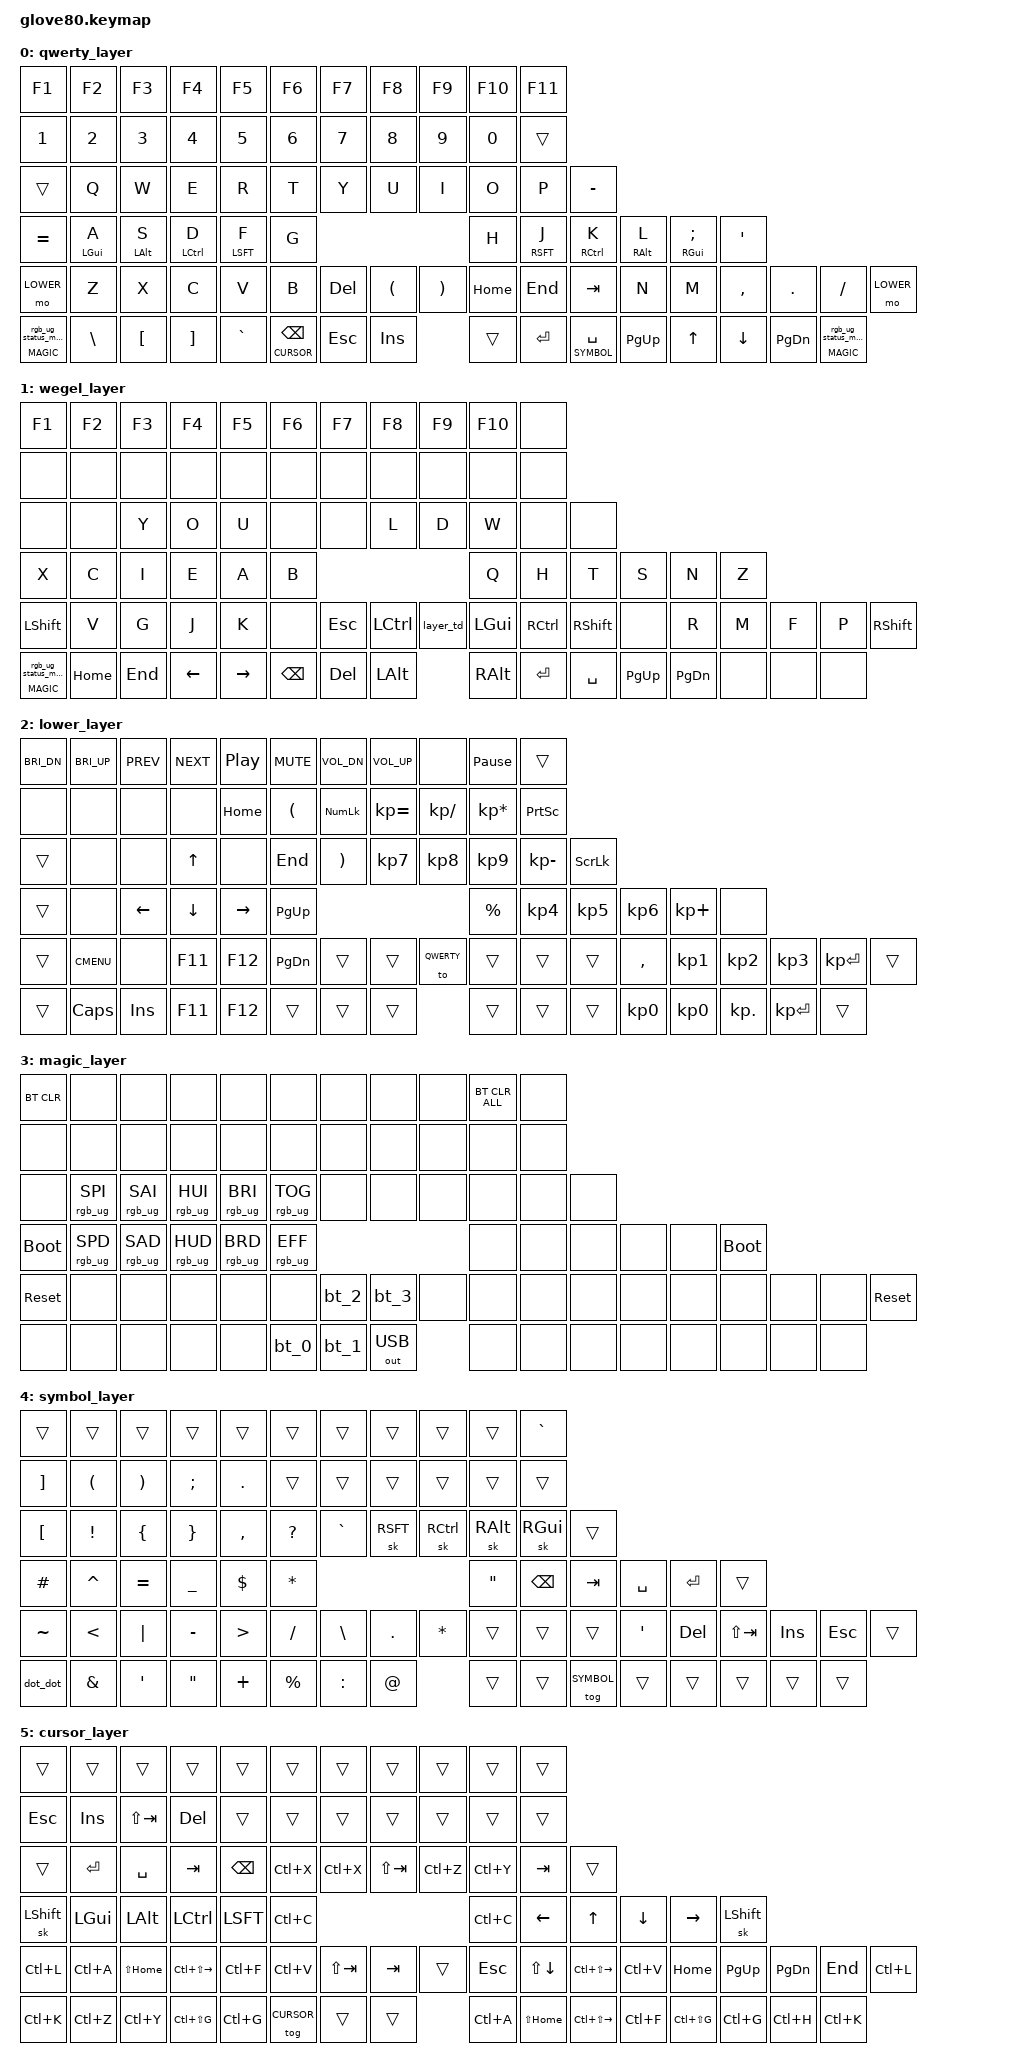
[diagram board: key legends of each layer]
/*
 * Copyright (c) 2020 The ZMK Contributors
 *
 * SPDX-License-Identifier: MIT
 */

#include <behaviors.dtsi>
#include <dt-bindings/zmk/keys.h>
#include <dt-bindings/zmk/bt.h>
#include <dt-bindings/zmk/ext_power.h>
#include <dt-bindings/zmk/outputs.h>
#include <dt-bindings/zmk/rgb.h>

#define HYPER LC(LS(LG(LALT)))

// layers
#define QWERTY 0
#define CUSTOM 1
#define LOWER 2
#define MAGIC 3
#define SYMBOL 4
#define CURSOR 5
#define DEFAULT QWERTY

/ {
    behaviors {
        layer_td: tap_dance_0 {
            compatible = "zmk,behavior-tap-dance";
            label = "LAYER_TAP_DANCE";
            #binding-cells = <0>;
            tapping-term-ms = <200>;
            bindings = <&mo LOWER>, <&to LOWER>;
        };

        magic: magic_hold_tap {
            compatible = "zmk,behavior-hold-tap";
            label = "MAGIC_HOLD_TAP";
            #binding-cells = <2>;
            flavor = "tap-preferred";
            tapping-term-ms = <200>;
            bindings = <&mo>, <&rgb_ug_status_macro>;
        };


        home_mod: home_row_mod {
            compatible = "zmk,behavior-hold-tap";
            label = "HOME_ROW_MOD";
            #binding-cells = <2>;
            flavor = "tap-preferred";
            tapping-term-ms = <180>;
            quick-tap-ms = <150>;
            hold-trigger-on-release;
            bindings = <&kp>, <&kp>;
        };
        thumb_lt: thumb_layer_tap_repeat {
            compatible = "zmk,behavior-hold-tap";
            label = "THUMB_LAYER_TAP";
            #binding-cells = <2>;
            flavor = "tap-preferred";
            tapping-term-ms = <200>;
            quick-tap-ms = <200>;
            bindings = <&mo>, <&kp>;
        };
    };

    macros {
        rgb_ug_status_macro: rgb_ug_status_macro_0 {
            label = "RGB_UG_STATUS";
            compatible = "zmk,behavior-macro";
            #binding-cells = <0>;
            bindings
                = <&rgb_ug RGB_STATUS>;
        };

        bt_0: bt_profile_macro_0 {
            label = "BT_0";
            compatible = "zmk,behavior-macro";
            #binding-cells = <0>;
            bindings
                = <&out OUT_BLE>,
                  <&bt BT_SEL 0>;
        };

        bt_1: bt_profile_macro_1 {
            label = "BT_1";
            compatible = "zmk,behavior-macro";
            #binding-cells = <0>;
            bindings
                = <&out OUT_BLE>,
                  <&bt BT_SEL 1>;
        };

        bt_2: bt_profile_macro_2 {
            label = "BT_2";
            compatible = "zmk,behavior-macro";
            #binding-cells = <0>;
            bindings
                = <&out OUT_BLE>,
                  <&bt BT_SEL 2>;
        };

        bt_3: bt_profile_macro_3 {
            label = "BT_3";
            compatible = "zmk,behavior-macro";
            #binding-cells = <0>;
            bindings
                = <&out OUT_BLE>,
                  <&bt BT_SEL 3>;
        };
        dot_dot: dot_dot_macro {
            label = "DOT_DOT";
            compatible = "zmk,behavior-macro";
            #binding-cells = <0>;
            bindings = <&kp DOT>, <&kp DOT>;
        };

    };

    keymap {
        compatible = "zmk,keymap";

        qwerty_layer {
            // Base QWERTY layout with homerow mods and thumb layer-taps
            bindings = <
            &kp F1        &kp F2        &kp F3        &kp F4        &kp F5        &kp F6        &kp F7        &kp F8        &kp F9        &kp F10       &kp F11
            &kp N1        &kp N2        &kp N3        &kp N4        &kp N5        &kp N6        &kp N7        &kp N8        &kp N9        &kp N0        &trans
            &trans        &kp Q         &kp W         &kp E         &kp R         &kp T         &kp Y         &kp U         &kp I         &kp O         &kp P         &kp MINUS
            &kp EQUAL     &home_mod LGUI A    &home_mod LALT S    &home_mod LCTL D    &home_mod LSFT F    &kp G         &kp H         &home_mod RSFT J    &home_mod RCTL K    &home_mod RALT L    &home_mod RGUI SEMI &kp SQT
            &mo LOWER     &kp Z         &kp X         &kp C         &kp V         &kp B         &kp DELETE    &kp LPAR      &kp RPAR      &kp HOME      &kp END       &kp TAB        &kp N         &kp M         &kp COMMA     &kp DOT       &kp FSLH      &mo LOWER
            &magic MAGIC 0 &kp BSLH     &kp LBKT      &kp RBKT      &kp GRAVE     &thumb_lt CURSOR BACKSPACE &kp ESC    &kp INSERT    &trans        &kp ENTER     &thumb_lt SYMBOL SPACE &kp PG_UP     &kp UP        &kp DOWN      &kp PG_DN     &magic MAGIC 0
            >;
        };

        wegel_layer {
            // ---------------------------------------------------------------------------------------------------------------------------------
            // |  F1   |  F2 |  F3 |  F4  |  F5  |                                                               |  F6   |  F7   |  F8  |   F9  |  F10 |
            // |       |     |     |      |      |      |                                                 |      |       |       |      |       |      |
            // |       |     |  Y  |  O   |  U   |      |                                                 |      |   L   |   D   |  W   |       |      |
            // |   X   |  C  |  I  |  E   |  A   |  B   |                                                 |  Q   |   H   |   T   |  S   |   N   |   Z  |
            // | LSHFT |  V  |  G  |  J   |  K   |      |  ESC  | LCTRL | LOWER | | LGUI  | RCTRL | RSHFT |      |   R   |   M   |  F   |   P   | RSHFT|
            // | MAGIC |     |     |      |      |      | BSPC  | DEL   | LALT  | | RALT  | RET   | SPACE |      |       |       |      |       |      |

            bindings = <
            &kp F1         &kp F2   &kp F3      &kp F4      &kp F5                                                                                         &kp F6  &kp F7      &kp F8      &kp F9      &kp F10
            &none          &none    &none       &none       &none       &none                                                                      &none   &none   &none       &none       &none       &none
            &none          &none    &kp Y       &kp O       &kp U       &none                                                                      &none   &kp L   &kp D       &kp W       &none       &none
            &kp X          &kp C    &kp I       &kp E       &kp A       &kp B                                                                      &kp Q   &kp H   &kp T       &kp S       &kp N       &kp Z
            &kp LSHFT      &kp V    &kp G       &kp J       &kp K       &none   &kp ESC   &kp LCTRL   &layer_td  &kp LGUI  &kp RCTRL &kp RSHFT     &none   &kp R   &kp M       &kp F       &kp P       &kp RSHFT
            &magic MAGIC 0 &kp HOME &kp END     &kp LEFT    &kp RIGHT           &kp BSPC  &kp DEL     &kp LALT   &kp RALT  &kp RET   &kp SPACE     &kp PG_UP &kp PG_DN &none   &none       &none
            >;
        };

        lower_layer {
            bindings = <
            &kp C_BRI_DN      &kp C_BRI_UP        &kp C_PREV      &kp C_NEXT      &kp C_PP                                                                                                           &kp C_MUTE   &kp C_VOL_DN &kp C_VOL_UP  &none           &kp PAUSE_BREAK
            &trans            &none               &none           &none           &none           &kp HOME                                                                              &kp LPAR     &kp KP_NUM   &kp KP_EQUAL &kp KP_DIVIDE &kp KP_MULTIPLY &kp PSCRN
            &trans            &none               &none           &kp UP          &none           &kp END                                                                               &kp RPAR     &kp KP_N7    &kp KP_N8    &kp KP_N9     &kp KP_MINUS    &kp SLCK
            &trans            &none               &kp LEFT        &kp DOWN        &kp RIGHT       &kp PG_UP                                                                             &kp PRCNT    &kp KP_N4    &kp KP_N5    &kp KP_N6     &kp KP_PLUS     &none
            &trans            &kp K_CMENU         &none           &kp F11         &kp F12         &kp PG_DN       &trans      &trans      &to DEFAULT &trans      &trans      &trans    &kp COMMA    &kp KP_N1    &kp KP_N2    &kp KP_N3     &kp KP_ENTER    &trans
            &trans            &kp CAPS            &kp INS         &kp F11         &kp F12                         &trans      &trans      &trans      &trans      &trans      &trans                 &kp KP_N0    &kp KP_N0    &kp KP_DOT    &kp KP_ENTER    &trans
            >;
        };

        magic_layer {
            bindings = <
            &bt BT_CLR        &none               &none           &none           &none                                                                                                           &none      &none      &none      &none      &bt BT_CLR_ALL
            &none             &none               &none           &none           &none           &none                                                                                &none      &none      &none      &none      &none      &none
            &none             &rgb_ug RGB_SPI     &rgb_ug RGB_SAI &rgb_ug RGB_HUI &rgb_ug RGB_BRI &rgb_ug RGB_TOG                                                                      &none      &none      &none      &none      &none      &none
            &bootloader       &rgb_ug RGB_SPD     &rgb_ug RGB_SAD &rgb_ug RGB_HUD &rgb_ug RGB_BRD &rgb_ug RGB_EFF                                                                      &none      &none      &none      &none      &none      &bootloader
            &sys_reset        &none               &none           &none           &none           &none           &bt_2     &bt_3     &none            &none     &none     &none       &none      &none      &none      &none      &none      &sys_reset
            &none             &none               &none           &none           &none                           &bt_0     &bt_1     &out OUT_USB     &none     &none     &none                  &none      &none      &none      &none      &none
            >;
        };
        symbol_layer {
            bindings = <
            &trans        &trans        &trans        &trans        &trans        &trans        &trans        &trans        &trans        &trans        &kp GRAVE
            &kp RBKT      &kp LPAR      &kp RPAR      &kp SEMI      &kp DOT       &trans        &trans        &trans        &trans        &trans        &trans
            &kp LBKT      &kp EXCL      &kp LBRC      &kp RBRC      &kp COMMA     &kp QMARK     &kp GRAVE     &sk RSFT      &sk RCTL      &sk RALT      &sk RGUI     &trans
            &kp HASH      &kp CARET     &kp EQUAL     &kp UNDER     &kp DLLR      &kp STAR      &kp DQT       &kp BSPC      &kp TAB       &kp SPACE     &kp RET      &trans
            &kp TILDE     &kp LT        &kp PIPE      &kp MINUS     &kp GT        &kp FSLH      &kp BSLH      &kp DOT       &kp STAR      &trans        &trans        &trans        &kp SQT       &kp DEL       &kp LS(TAB)   &kp INS       &kp ESC       &trans
            &dot_dot      &kp AMPS      &kp SQT       &kp DQT       &kp PLUS      &kp PRCNT     &kp COLON     &kp AT        &trans        &trans        &tog SYMBOL  &trans        &trans        &trans        &trans        &trans
            >;
        };

        cursor_layer {
            bindings = <
            &trans        &trans        &trans        &trans        &trans        &trans        &trans        &trans        &trans        &trans        &trans
            &kp ESC       &kp INS       &kp LS(TAB)   &kp DEL       &trans        &trans        &trans        &trans        &trans        &trans        &trans
            &trans        &kp RET       &kp SPACE     &kp TAB       &kp BSPC      &kp LC(X)     &kp LC(X)     &kp LS(TAB)   &kp LC(Z)     &kp LC(Y)     &kp TAB       &trans
            &sk LSHFT     &kp LGUI      &kp LALT      &kp LCTL      &kp LSFT      &kp LC(C)     &kp LC(C)     &kp LEFT      &kp UP        &kp DOWN      &kp RIGHT     &sk LSHFT
            &kp LC(L)     &kp LC(A)     &kp LS(HOME)  &kp LC(LS(RIGHT)) &kp LC(F) &kp LC(V) &kp LS(TAB) &kp TAB      &trans        &kp ESC       &kp LS(DOWN) &kp LC(LS(RIGHT)) &kp LC(V) &kp HOME &kp PG_UP &kp PG_DN &kp END &kp LC(L)
            &kp LC(K)     &kp LC(Z)     &kp LC(Y)     &kp LC(LS(G))  &kp LC(G)     &tog CURSOR   &trans        &trans        &kp LC(A)     &kp LS(HOME)  &kp LC(LS(RIGHT)) &kp LC(F) &kp LC(LS(G)) &kp LC(G) &kp LC(H) &kp LC(K)
            >;
        };


    };
};
